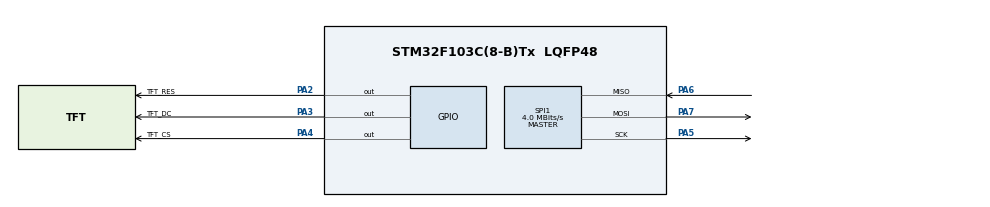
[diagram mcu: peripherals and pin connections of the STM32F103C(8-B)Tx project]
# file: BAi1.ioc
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Mcu.Family=STM32F1
Mcu.Name=STM32F103C(8-B)Tx
Mcu.Package=LQFP48
NVIC.PriorityGroup=NVIC_PRIORITYGROUP_4
PA2.GPIO_Label=TFT_RES
PA2.Signal=GPIO_Output
PA3.GPIO_Label=TFT_DC
PA3.Signal=GPIO_Output
PA4.GPIO_Label=TFT_CS
PA4.Signal=GPIO_Output
PA5.Mode=Full_Duplex_Master
PA5.Signal=SPI1_SCK
PA6.Mode=Full_Duplex_Master
PA6.Signal=SPI1_MISO
PA7.Mode=Full_Duplex_Master
PA7.Signal=SPI1_MOSI
PD0-OSC_IN.Mode=HSE-External-Oscillator
PD0-OSC_IN.Signal=RCC_OSC_IN
PD1-OSC_OUT.Mode=HSE-External-Oscillator
PD1-OSC_OUT.Signal=RCC_OSC_OUT
ProjectManager.HeapSize=0x200
ProjectManager.StackSize=0x400
ProjectManager.TargetToolchain=Makefile
RCC.APB1Freq_Value=8000000
RCC.APB2Freq_Value=8000000
SPI1.CalculateBaudRate=4.0 MBits/s
SPI1.Direction=SPI_DIRECTION_2LINES
SPI1.Mode=SPI_MODE_MASTER
SPI1.VirtualType=VM_MASTER
VP_SYS_VS_ND.Mode=No_Debug
board=custom

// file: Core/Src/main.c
/* USER CODE BEGIN Header */
/**
  ******************************************************************************
  * @file           : main.c
  * @brief          : Main program body
  ******************************************************************************
  * @attention
  *
  * Copyright (c) 2026 STMicroelectronics.
  * All rights reserved.
  *
  * This software is licensed under terms that can be found in the LICENSE file
  * in the root directory of this software component.
  * If no LICENSE file comes with this software, it is provided AS-IS.
  *
  ******************************************************************************
  */
/* USER CODE END Header */
#include "main.h"

SPI_HandleTypeDef hspi1;

/* USER CODE BEGIN PV */
#define TFT_CS_LOW()    HAL_GPIO_WritePin(TFT_CS_GPIO_Port, TFT_CS_Pin, GPIO_PIN_RESET)
#define TFT_CS_HIGH()   HAL_GPIO_WritePin(TFT_CS_GPIO_Port, TFT_CS_Pin, GPIO_PIN_SET)
#define TFT_DC_CMD()    HAL_GPIO_WritePin(TFT_DC_GPIO_Port, TFT_DC_Pin, GPIO_PIN_RESET)
#define TFT_DC_DATA()   HAL_GPIO_WritePin(TFT_DC_GPIO_Port, TFT_DC_Pin, GPIO_PIN_SET)
#define TFT_RES_LOW()   HAL_GPIO_WritePin(TFT_RES_GPIO_Port, TFT_RES_Pin, GPIO_PIN_RESET)
#define TFT_RES_HIGH()  HAL_GPIO_WritePin(TFT_RES_GPIO_Port, TFT_RES_Pin, GPIO_PIN_SET)
#define TFT_BLACK       0x0000
#define TFT_WHITE       0xFFFF
#define TFT_RED         0xF800
#define TFT_GREEN       0x07E0
#define TFT_BLUE        0x001F
#define TFT_YELLOW      0xFFE0

#define TFT_WIDTH       128
#define TFT_HEIGHT      160
const uint8_t Font5x7[][5] = {
    {0x00, 0x00, 0x00, 0x00, 0x00}, // Khoảng trắng ' '
    {0x00, 0x00, 0x5F, 0x00, 0x00}, // !
    {0x00, 0x07, 0x00, 0x07, 0x00}, // "
    {0x14, 0x7F, 0x14, 0x7F, 0x14}, // #
    {0x24, 0x2A, 0x7F, 0x2A, 0x12}, // $
    {0x23, 0x13, 0x08, 0x64, 0x62}, // %
    {0x36, 0x49, 0x55, 0x22, 0x50}, // &
    {0x00, 0x05, 0x03, 0x00, 0x00}, // '
    {0x00, 0x1C, 0x22, 0x41, 0x00}, // (
    {0x00, 0x41, 0x22, 0x1C, 0x00}, // )
    {0x14, 0x08, 0x3E, 0x08, 0x14}, // *
    {0x08, 0x08, 0x3E, 0x08, 0x08}, // +
    {0x00, 0x50, 0x30, 0x00, 0x00}, // ,
    {0x08, 0x08, 0x08, 0x08, 0x08}, // -
    {0x00, 0x60, 0x60, 0x00, 0x00}, // .
    {0x20, 0x10, 0x08, 0x04, 0x02}, // /
    {0x3E, 0x51, 0x49, 0x45, 0x3E}, // 0
    {0x00, 0x42, 0x7F, 0x40, 0x00}, // 1
    {0x42, 0x61, 0x51, 0x49, 0x46}, // 2
    {0x21, 0x41, 0x45, 0x4B, 0x31}, // 3
    {0x18, 0x14, 0x12, 0x7F, 0x10}, // 4
    {0x27, 0x45, 0x45, 0x45, 0x39}, // 5
    {0x3C, 0x4A, 0x49, 0x49, 0x30}, // 6
    {0x01, 0x71, 0x09, 0x05, 0x03}, // 7
    {0x36, 0x49, 0x49, 0x49, 0x36}, // 8
    {0x06, 0x49, 0x49, 0x29, 0x1E}, // 9
    {0x00, 0x36, 0x36, 0x00, 0x00}, // :
    {0x00, 0x56, 0x36, 0x00, 0x00}, // ;
    {0x08, 0x14, 0x22, 0x41, 0x80}, // <
    {0x14, 0x14, 0x14, 0x14, 0x14}, // =
    {0x80, 0x41, 0x22, 0x14, 0x08}, // >
    {0x02, 0x01, 0x51, 0x09, 0x06}, // ?
    {0x32, 0x49, 0x79, 0x41, 0x3E}, // @
    {0x7E, 0x11, 0x11, 0x11, 0x7E}, // A
    {0x7F, 0x49, 0x49, 0x49, 0x36}, // B
    {0x3E, 0x41, 0x41, 0x41, 0x22}, // C
    {0x7F, 0x41, 0x41, 0x22, 0x1C}, // D
    {0x7F, 0x49, 0x49, 0x49, 0x41}, // E
    {0x7F, 0x09, 0x09, 0x09, 0x01}, // F
    {0x3E, 0x41, 0x49, 0x49, 0x7A}, // G
    {0x7F, 0x08, 0x08, 0x08, 0x7F}, // H
    {0x00, 0x41, 0x7F, 0x41, 0x00}, // I
    {0x20, 0x40, 0x41, 0x3F, 0x01}, // J
    {0x7F, 0x08, 0x14, 0x22, 0x41}, // K
    {0x7F, 0x40, 0x40, 0x40, 0x40}, // L
    {0x7F, 0x02, 0x0C, 0x02, 0x7F}, // M
    {0x7F, 0x04, 0x08, 0x10, 0x7F}, // N
    {0x3E, 0x41, 0x41, 0x41, 0x3E}, // O
    {0x7F, 0x09, 0x09, 0x09, 0x06}, // P
    {0x3E, 0x41, 0x51, 0x21, 0x5E}, // Q
    {0x7F, 0x09, 0x19, 0x29, 0x46}, // R
    {0x46, 0x49, 0x49, 0x49, 0x31}, // S
    {0x01, 0x01, 0x7F, 0x01, 0x01}, // T
    {0x3F, 0x40, 0x40, 0x40, 0x3F}, // U
    {0x1F, 0x20, 0x40, 0x20, 0x1F}, // V
    {0x3F, 0x40, 0x38, 0x40, 0x3F}, // W
    {0x63, 0x14, 0x08, 0x14, 0x63}, // X
    {0x07, 0x08, 0x70, 0x08, 0x07}, // Y
    {0x61, 0x51, 0x49, 0x45, 0x43}, // Z
    {0x00, 0x7F, 0x41, 0x41, 0x00}, // [
    {0x02, 0x04, 0x08, 0x10, 0x20}, // \
    {0x00, 0x41, 0x41, 0x7F, 0x00}, // ]
    {0x04, 0x02, 0x01, 0x02, 0x04}, // ^
    {0x40, 0x40, 0x40, 0x40, 0x40}, // _
    {0x00, 0x01, 0x02, 0x04, 0x00}, // `
    {0x20, 0x54, 0x54, 0x54, 0x78}, // a
    {0x7F, 0x48, 0x44, 0x44, 0x38}, // b
    {0x38, 0x44, 0x44, 0x44, 0x20}, // c
    {0x38, 0x44, 0x44, 0x48, 0x7F}, // d
    {0x38, 0x54, 0x54, 0x54, 0x18}, // e
    {0x08, 0x7E, 0x09, 0x01, 0x02}, // f
    {0x0C, 0x52, 0x52, 0x52, 0x3E}, // g
    {0x7F, 0x08, 0x04, 0x04, 0x78}, // h
    {0x00, 0x44, 0x7D, 0x40, 0x00}, // i
    {0x20, 0x40, 0x44, 0x3D, 0x00}, // j
    {0x7F, 0x10, 0x28, 0x44, 0x00}, // k
    {0x00, 0x41, 0x7F, 0x40, 0x00}, // l
    {0x7C, 0x04, 0x18, 0x04, 0x78}, // m
    {0x7C, 0x08, 0x04, 0x04, 0x78}, // n
    {0x38, 0x44, 0x44, 0x44, 0x38}, // o
    {0x7C, 0x14, 0x14, 0x14, 0x08}, // p
    {0x08, 0x14, 0x14, 0x18, 0x7C}, // q
    {0x7C, 0x08, 0x04, 0x04, 0x08}, // r
    {0x48, 0x54, 0x54, 0x54, 0x20}, // s
    {0x04, 0x3F, 0x44, 0x40, 0x20}, // t
    {0x3C, 0x40, 0x40, 0x20, 0x7C}, // u
    {0x1C, 0x20, 0x40, 0x20, 0x1C}, // v
    {0x3C, 0x40, 0x30, 0x40, 0x3C}, // w
    {0x44, 0x28, 0x10, 0x28, 0x44}, // x
    {0x0C, 0x50, 0x50, 0x50, 0x3C}, // y
    {0x44, 0x64, 0x54, 0x4C, 0x44}  // z
};
/* USER CODE END PV */

void SystemClock_Config(void);
static void MX_GPIO_Init(void);
static void MX_SPI1_Init(void);

/* USER CODE BEGIN 0 */
void TFT_WriteCmd(uint8_t cmd) {
    TFT_DC_CMD();
    TFT_CS_LOW();
    HAL_SPI_Transmit(&hspi1, &cmd, 1, HAL_MAX_DELAY);
    TFT_CS_HIGH();
}

void TFT_WriteData(uint8_t data) {
    TFT_DC_DATA();
    TFT_CS_LOW();
    HAL_SPI_Transmit(&hspi1, &data, 1, HAL_MAX_DELAY);
    TFT_CS_HIGH();
}

void TFT_SetAddressWindow(uint16_t x0, uint16_t y0, uint16_t x1, uint16_t y1) {
    TFT_WriteCmd(0x2A); // CASET
    TFT_WriteData(x0 >> 8);
    TFT_WriteData(x0 & 0xFF);
    TFT_WriteData(x1 >> 8);
    TFT_WriteData(x1 & 0xFF);

    TFT_WriteCmd(0x2B); // RASET
    TFT_WriteData(y0 >> 8);
    TFT_WriteData(y0 & 0xFF);
    TFT_WriteData(y1 >> 8);
    TFT_WriteData(y1 & 0xFF);

    TFT_WriteCmd(0x2C); // RAMWR
}

void TFT_Init(void) {
    // Reset phần cứng
    TFT_RES_LOW();
    HAL_Delay(50);
    TFT_RES_HIGH();
    HAL_Delay(50);

    TFT_WriteCmd(0x01); // SWRESET
    HAL_Delay(150);

    TFT_WriteCmd(0x11); // SLPOUT (Thoát Sleep mode)
    HAL_Delay(200);

    // Cấu hình định dạng màu 16-bit (RGB565)
    TFT_WriteCmd(0x3A);
    TFT_WriteData(0x05);

    // Cấu hình hướng quét hiển thị (MADCTL)
    TFT_WriteCmd(0x36);
    TFT_WriteData(0xC0); // Tùy module có thể là 0x00, 0xC8, hoặc 0xA0

    TFT_WriteCmd(0x29); // DISPON (Bật hiển thị)
    HAL_Delay(100);
}

void TFT_DrawPixel(uint16_t x, uint16_t y, uint16_t color) {
    if (x >= TFT_WIDTH || y >= TFT_HEIGHT) return;
    TFT_SetAddressWindow(x, y, x, y);
    TFT_DC_DATA();
    TFT_CS_LOW();
    uint8_t data[2] = { color >> 8, color & 0xFF };
    HAL_SPI_Transmit(&hspi1, data, 2, HAL_MAX_DELAY);
    TFT_CS_HIGH();
}

void TFT_FillScreen(uint16_t color) {
    TFT_SetAddressWindow(0, 0, TFT_WIDTH - 1, TFT_HEIGHT - 1);
    TFT_DC_DATA();
    TFT_CS_LOW();
    uint8_t colorData[2] = { color >> 8, color & 0xFF };
    for (uint32_t i = 0; i < (uint32_t)(TFT_WIDTH * TFT_HEIGHT); i++) {
        HAL_SPI_Transmit(&hspi1, colorData, 2, HAL_MAX_DELAY);
    }
    TFT_CS_HIGH();
}

// Vẽ 1 ký tự ASCII (hỗ trợ phóng to tỉ lệ size)
void TFT_DrawChar(uint16_t x, uint16_t y, char c, uint16_t color, uint16_t bg, uint8_t size) {
    if (c < ' ' || c > 'z') return;
    uint8_t charIndex = c - ' ';

    for (int8_t i = 0; i < 5; i++) {
        uint8_t line = Font5x7[charIndex][i];
        for (int8_t j = 0; j < 8; j++) {
            if (line & 0x01) {
                if (size == 1) {
                    TFT_DrawPixel(x + i, y + j, color);
                } else {
                    for (uint8_t a = 0; a < size; a++) {
                        for (uint8_t b = 0; b < size; b++) {
                            TFT_DrawPixel(x + (i * size) + a, y + (j * size) + b, color);
                        }
                    }
                }
            } else if (bg != color) {
                if (size == 1) {
                    TFT_DrawPixel(x + i, y + j, bg);
                } else {
                    for (uint8_t a = 0; a < size; a++) {
                        for (uint8_t b = 0; b < size; b++) {
                            TFT_DrawPixel(x + (i * size) + a, y + (j * size) + b, bg);
                        }
                    }
                }
            }
            line >>= 1;
        }
    }
}

// In chuỗi ký tự lên màn hình
void TFT_PrintString(uint16_t x, uint16_t y, const char *str, uint16_t color, uint16_t bg, uint8_t size) {
    while (*str) {
        TFT_DrawChar(x, y, *str, color, bg, size);
        x += (6 * size); // Khoảng cách ký tự (5 cột font + 1 cột đệm)
        str++;
    }
}
/* USER CODE END 0 */

int main(void)
{

  /* MCU Configuration--------------------------------------------------------*/

  /* Reset of all peripherals, Initializes the Flash interface and the Systick. */
  HAL_Init();

  /* Configure the system clock */
  SystemClock_Config();

  /* Initialize all configured peripherals */
  MX_GPIO_Init();
  MX_SPI1_Init();
  /* USER CODE BEGIN 2 */
TFT_Init();

  // 2. Xóa toàn bộ màn hình về màu nền ĐEN
  TFT_FillScreen(TFT_BLACK);

  // 3. In dòng 1: "HTN" màu VÀNG, phóng to size 3
  TFT_PrintString(35, 40, "HTN", TFT_YELLOW, TFT_BLACK, 3);

  // 4. In dòng 2: "nhom 2" màu TRẮNG, size 2
  // (Lưu ý: Font ASCII chuẩn không gõ dấu tiếng Việt trực tiếp, ghi 'nhom 2' để không bị lỗi font)
  TFT_PrintString(20, 85, "NHOM 2", TFT_WHITE, TFT_BLACK, 2);
  /* USER CODE END 2 */

  /* Infinite loop */
  while (1)
  {

  }
}

void SystemClock_Config(void)
{
  RCC_OscInitTypeDef RCC_OscInitStruct = {0};
  RCC_ClkInitTypeDef RCC_ClkInitStruct = {0};

  /** Initializes the RCC Oscillators according to the specified parameters
  * in the RCC_OscInitTypeDef structure.
  */
  RCC_OscInitStruct.OscillatorType = RCC_OSCILLATORTYPE_HSI;
  RCC_OscInitStruct.HSIState = RCC_HSI_ON;
  RCC_OscInitStruct.HSICalibrationValue = RCC_HSICALIBRATION_DEFAULT;
  RCC_OscInitStruct.PLL.PLLState = RCC_PLL_NONE;
  if (HAL_RCC_OscConfig(&RCC_OscInitStruct) != HAL_OK)
  {
    Error_Handler();
  }

  /** Initializes the CPU, AHB and APB buses clocks
  */
  RCC_ClkInitStruct.ClockType = RCC_CLOCKTYPE_HCLK|RCC_CLOCKTYPE_SYSCLK
                              |RCC_CLOCKTYPE_PCLK1|RCC_CLOCKTYPE_PCLK2;
  RCC_ClkInitStruct.SYSCLKSource = RCC_SYSCLKSOURCE_HSI;
  RCC_ClkInitStruct.AHBCLKDivider = RCC_SYSCLK_DIV1;
  RCC_ClkInitStruct.APB1CLKDivider = RCC_HCLK_DIV1;
  RCC_ClkInitStruct.APB2CLKDivider = RCC_HCLK_DIV1;

  if (HAL_RCC_ClockConfig(&RCC_ClkInitStruct, FLASH_LATENCY_0) != HAL_OK)
  {
    Error_Handler();
  }
}

static void MX_SPI1_Init(void)
{

  /* SPI1 parameter configuration*/
  hspi1.Instance = SPI1;
  hspi1.Init.Mode = SPI_MODE_MASTER;
  hspi1.Init.Direction = SPI_DIRECTION_2LINES;
  hspi1.Init.DataSize = SPI_DATASIZE_8BIT;
  hspi1.Init.CLKPolarity = SPI_POLARITY_LOW;
  hspi1.Init.CLKPhase = SPI_PHASE_1EDGE;
  hspi1.Init.NSS = SPI_NSS_SOFT;
  hspi1.Init.BaudRatePrescaler = SPI_BAUDRATEPRESCALER_2;
  hspi1.Init.FirstBit = SPI_FIRSTBIT_MSB;
  hspi1.Init.TIMode = SPI_TIMODE_DISABLE;
  hspi1.Init.CRCCalculation = SPI_CRCCALCULATION_DISABLE;
  hspi1.Init.CRCPolynomial = 10;
  if (HAL_SPI_Init(&hspi1) != HAL_OK)
  {
    Error_Handler();
  }

}

static void MX_GPIO_Init(void)
{
  GPIO_InitTypeDef GPIO_InitStruct = {0};

  /* GPIO Ports Clock Enable */
  __HAL_RCC_GPIOD_CLK_ENABLE();
  __HAL_RCC_GPIOA_CLK_ENABLE();

  /*Configure GPIO pin Output Level */
  HAL_GPIO_WritePin(GPIOA, TFT_RES_Pin|TFT_DC_Pin|TFT_CS_Pin, GPIO_PIN_RESET);

  /*Configure GPIO pins : TFT_RES_Pin TFT_DC_Pin TFT_CS_Pin */
  GPIO_InitStruct.Pin = TFT_RES_Pin|TFT_DC_Pin|TFT_CS_Pin;
  GPIO_InitStruct.Mode = GPIO_MODE_OUTPUT_PP;
  GPIO_InitStruct.Pull = GPIO_NOPULL;
  GPIO_InitStruct.Speed = GPIO_SPEED_FREQ_LOW;
  HAL_GPIO_Init(GPIOA, &GPIO_InitStruct);

}

void Error_Handler(void)
{
  __disable_irq();
  while (1)
  {
  }
}
